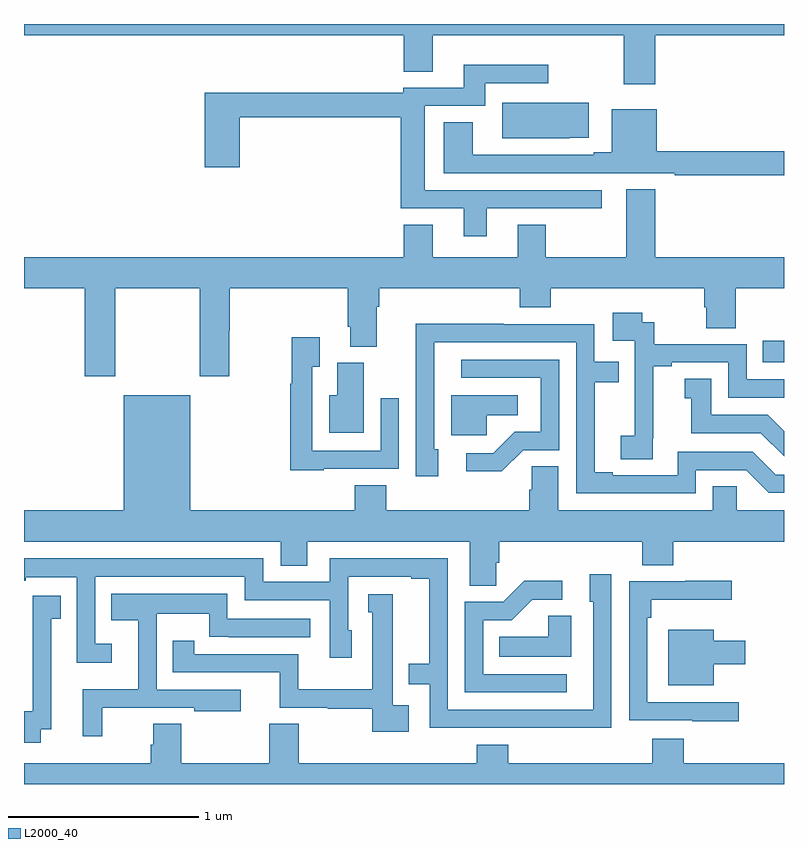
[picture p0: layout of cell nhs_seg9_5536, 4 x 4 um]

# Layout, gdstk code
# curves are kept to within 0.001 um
import gdstk
lib = gdstk.Library(unit=1e-6, precision=1e-09)
def R(c, l, rs):  # rectangles x0, y0, x1, y1
    for r in rs: c.add(gdstk.rectangle(r[:2], r[2:], *l))
def P(c, l, *ps):  # polygons
    for p in ps: c.add(gdstk.Polygon(p, *l))
L2000_40 = (2000, 40)

nhs_seg9_5536 = lib.new_cell('nhs_seg9_5536')
R(nhs_seg9_5536, L2000_40, [(436.888,1174.719,437,1174.834)])
P(nhs_seg9_5536, L2000_40, [(436.322,1176.44),(437,1176.44),(437,1176.5),(433,1176.5),(433,1176.44),(434.999,1176.44),(434.999,1176.25),(435.151,1176.25),(435.151,1176.44),(436.157,1176.44),(436.157,1176.183),(436.322,1176.183)],
  [(435.436,1175.529),(436.042,1175.529),(436.042,1175.625),(435.109,1175.625),(435.109,1176.069),(435.427,1176.069),(435.427,1176.189),(435.76,1176.189),(435.76,1176.286),(435.314,1176.286),(435.314,1176.165),(434.996,1176.165),(434.996,1176.139),(433.952,1176.139),(433.952,1175.745),(434.135,1175.745),(434.135,1176.01),(434.984,1176.01),(434.984,1175.529),(435.314,1175.529),(435.314,1175.382),(435.436,1175.382)],
  [(435.869,1175.901),(435.972,1175.901),(435.972,1176.085),(435.518,1176.085),(435.518,1175.9),(435.869,1175.9)],
  [(437,1175.831),(436.33,1175.831),(436.33,1176.052),(436.094,1176.052),(436.094,1175.825),(435.998,1175.825),(435.998,1175.811),(435.361,1175.811),(435.361,1175.983),(435.209,1175.983),(435.209,1175.715),(436.426,1175.715),(436.426,1175.703),(437,1175.703)],
  [(433.479,1175.108),(433.924,1175.108),(433.924,1174.647),(434.079,1174.647),(434.079,1174.886),(434.084,1174.886),(434.084,1175.108),(434.705,1175.108),(434.705,1174.906),(434.717,1174.906),(434.717,1174.801),(434.857,1174.801),(434.857,1175.012),(434.87,1175.012),(434.87,1175.108),(435.608,1175.108),(435.608,1175.009),(435.773,1175.009),(435.773,1175.108),(436.58,1175.108),(436.58,1175.01),(436.592,1175.01),(436.592,1174.9),(436.745,1174.9),(436.745,1175.108),(437,1175.108),(437,1175.272),(436.322,1175.272),(436.322,1175.63),(436.169,1175.63),(436.169,1175.272),(435.747,1175.272),(435.747,1175.444),(435.599,1175.444),(435.599,1175.272),(435.151,1175.272),(435.151,1175.444),(434.999,1175.444),(434.999,1175.272),(433,1175.272),(433,1175.108),(433.319,1175.108),(433.319,1174.647),(433.479,1174.647)],
  [(436.31,1174.321),(436.312,1174.321),(436.312,1174.699),(436.408,1174.699),(436.408,1174.719),(436.707,1174.719),(436.707,1174.533),(437,1174.533),(437,1174.629),(436.803,1174.629),(436.803,1174.815),(436.316,1174.815),(436.316,1174.929),(436.254,1174.929),(436.254,1174.981),(436.098,1174.981),(436.098,1174.833),(436.215,1174.833),(436.215,1174.529),(436.214,1174.529),(436.214,1174.332),(436.14,1174.332),(436.14,1174.21),(436.31,1174.21)],
  [(436.536,1174.152),(436.8,1174.152),(436.92,1174.032),(437,1174.032),(437,1174.128),(436.956,1174.128),(436.836,1174.248),(436.44,1174.248),(436.44,1174.125),(436.099,1174.125),(436.099,1174.14),(436.003,1174.14),(436.003,1174.614),(436.13,1174.614),(436.13,1174.722),(436.002,1174.722),(436.002,1174.92),(435.524,1174.92),(435.524,1174.922),(435.062,1174.922),(435.063,1174.119),(435.181,1174.119),(435.181,1174.263),(435.159,1174.263),(435.159,1174.824),(435.906,1174.824),(435.906,1174.029),(436.536,1174.029)],
  [(434.577,1174.158),(434.973,1174.158),(434.973,1174.531),(434.877,1174.531),(434.877,1174.254),(434.517,1174.254),(434.517,1174.696),(434.557,1174.696),(434.557,1174.852),(434.409,1174.852),(434.409,1174.607),(434.401,1174.607),(434.401,1174.151),(434.577,1174.151)],
  [(435.627,1174.257),(435.816,1174.257),(435.816,1174.734),(435.3,1174.734),(435.3,1174.638),(435.72,1174.638),(435.72,1174.353),(435.582,1174.353),(435.471,1174.242),(435.327,1174.242),(435.327,1174.145),(435.514,1174.145)],
  [(434.788,1174.716),(434.648,1174.716),(434.648,1174.546),(434.606,1174.546),(434.606,1174.349),(434.788,1174.349)],
  [(437,1174.357),(436.914,1174.443),(436.618,1174.443),(436.618,1174.634),(436.478,1174.634),(436.478,1174.531),(436.511,1174.531),(436.511,1174.347),(436.878,1174.347),(437,1174.225)],
  [(435.485,1173.664),(435.5,1173.664),(435.5,1173.776),(436.253,1173.776),(436.253,1173.652),(436.418,1173.652),(436.418,1173.776),(437,1173.776),(437,1173.94),(436.752,1173.94),(436.752,1174.067),(436.625,1174.067),(436.625,1173.94),(435.811,1173.94),(435.811,1174.172),(435.672,1174.172),(435.672,1174.049),(435.659,1174.049),(435.659,1173.94),(434.906,1173.94),(434.906,1174.073),(434.741,1174.073),(434.741,1173.94),(433.876,1173.94),(433.876,1174.546),(433.526,1174.546),(433.526,1173.94),(433,1173.94),(433,1173.776),(434.351,1173.776),(434.351,1173.649),(434.491,1173.649),(434.491,1173.776),(435.347,1173.776),(435.347,1173.544),(435.485,1173.544)],
  [(435.435,1174.442),(435.598,1174.442),(435.598,1174.546),(435.248,1174.546),(435.248,1174.335),(435.435,1174.335)],
  [(436.092,1173.604),(435.977,1173.604),(435.977,1173.459),(435.996,1173.459),(435.996,1172.892),(435.231,1172.892),(435.231,1173.687),(434.61,1173.687),(434.61,1173.564),(434.259,1173.564),(434.259,1173.687),(433.271,1173.687),(433.271,1173.688),(433,1173.688),(433,1173.57),(433.009,1173.57),(433.009,1173.587),(433.278,1173.587),(433.278,1173.137),(433.462,1173.137),(433.462,1173.238),(433.374,1173.238),(433.374,1173.591),(434.163,1173.591),(434.163,1173.468),(434.61,1173.468),(434.61,1173.165),(434.725,1173.165),(434.725,1173.309),(434.706,1173.309),(434.706,1173.591),(435.038,1173.591),(435.038,1173.579),(435.134,1173.579),(435.134,1173.133),(435.026,1173.133),(435.026,1173.024),(435.135,1173.024),(435.135,1172.796),(435.631,1172.796),(435.631,1172.795),(436.092,1172.795)],
  [(436.762,1172.931),(436.281,1172.931),(436.281,1173.374),(436.301,1173.374),(436.301,1173.47),(436.726,1173.47),(436.726,1173.571),(436.481,1173.571),(436.481,1173.567),(436.185,1173.567),(436.185,1172.835),(436.517,1172.835),(436.517,1172.831),(436.762,1172.831)],
  [(435.856,1173.078),(435.417,1173.078),(435.417,1173.363),(435.567,1173.363),(435.675,1173.471),(435.832,1173.471),(435.832,1173.569),(435.632,1173.569),(435.522,1173.459),(435.321,1173.459),(435.321,1172.982),(435.856,1172.982)],
  [(433.412,1172.901),(433.895,1172.901),(433.895,1172.882),(434.14,1172.882),(434.14,1172.997),(433.698,1172.997),(433.698,1173.395),(433.974,1173.395),(433.974,1173.274),(434.077,1173.274),(434.077,1173.273),(434.506,1173.273),(434.506,1173.369),(434.07,1173.369),(434.07,1173.502),(433.459,1173.502),(433.459,1173.362),(433.601,1173.362),(433.601,1172.998),(433.31,1172.998),(433.31,1172.751),(433.412,1172.751)],
  [(435.025,1172.914),(434.94,1172.914),(434.94,1173.01),(434.941,1173.01),(434.941,1173.498),(434.813,1173.498),(434.813,1173.405),(434.834,1173.405),(434.834,1172.998),(434.443,1172.998),(434.443,1173.183),(433.896,1173.183),(433.896,1173.253),(433.783,1173.253),(433.783,1173.087),(434.345,1173.087),(434.345,1172.901),(434.598,1172.901),(434.598,1172.896),(434.832,1172.896),(434.832,1172.774),(435.025,1172.774)],
  [(433.087,1172.787),(433.144,1172.787),(433.144,1173.369),(433.193,1173.369),(433.193,1173.49),(433.046,1173.49),(433.046,1173.166),(433.047,1173.166),(433.047,1172.883),(433,1172.883),(433,1172.717),(433.087,1172.717)],
  [(435.88,1173.386),(435.758,1173.386),(435.758,1173.274),(435.502,1173.274),(435.502,1173.17),(435.88,1173.17)],
  [(436.63,1173.131),(436.795,1173.131),(436.795,1173.253),(436.63,1173.253),(436.63,1173.313),(436.391,1173.313),(436.391,1173.02),(436.63,1173.02)],
  [(437,1172.608),(436.472,1172.608),(436.472,1172.737),(436.307,1172.737),(436.307,1172.608),(435.548,1172.608),(435.548,1172.707),(435.383,1172.707),(435.383,1172.608),(434.445,1172.608),(434.445,1172.816),(434.29,1172.816),(434.29,1172.608),(433.827,1172.608),(433.827,1172.816),(433.679,1172.816),(433.679,1172.706),(433.667,1172.706),(433.667,1172.608),(433,1172.608),(433,1172.5),(437,1172.5)])

lib.write_gds('nhs_seg9_5536.gds')
